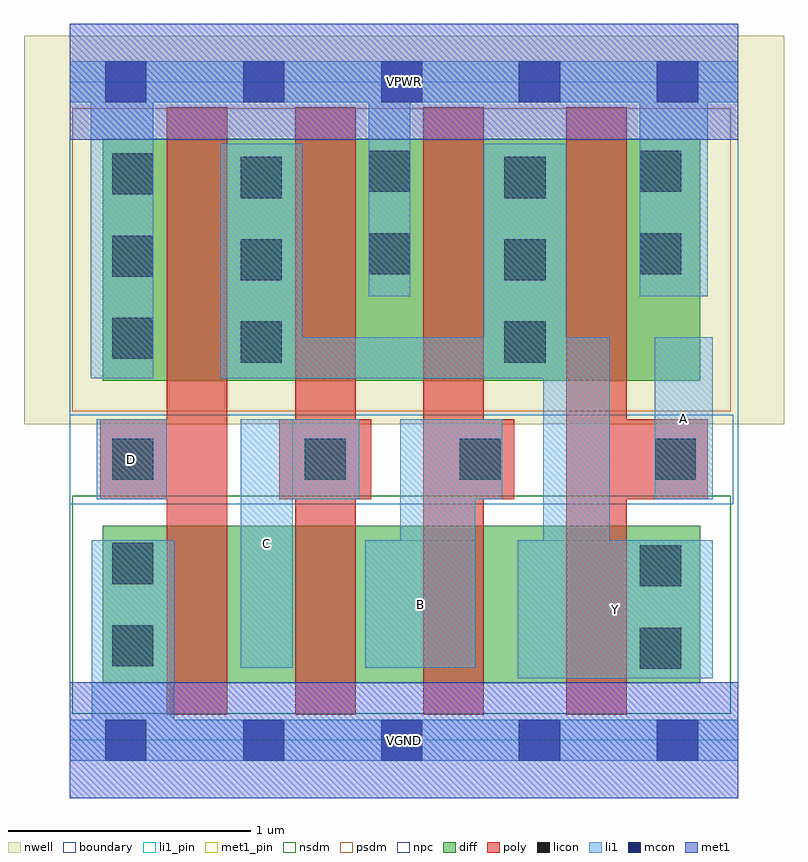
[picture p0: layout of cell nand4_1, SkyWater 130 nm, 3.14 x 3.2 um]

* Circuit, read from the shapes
.subckt nand4_1 A B C D VGND VPWR Y
XM1 n1 D VGND VSUBS sky130_fd_pr__nfet_01v8 w=0.65 l=0.25
XM2 n2 C n1 VSUBS sky130_fd_pr__nfet_01v8 w=0.65 l=0.25
XM3 n3 B n2 VSUBS sky130_fd_pr__nfet_01v8 w=0.65 l=0.25
XM4 Y A n3 VSUBS sky130_fd_pr__nfet_01v8 w=0.65 l=0.25
XM5 Y D VPWR n4 sky130_fd_pr__pfet_01v8 w=1 l=0.25
XM6 VPWR C Y n4 sky130_fd_pr__pfet_01v8 w=1 l=0.25
XM7 Y B VPWR n4 sky130_fd_pr__pfet_01v8 w=1 l=0.25
XM8 VPWR A Y n4 sky130_fd_pr__pfet_01v8 w=1 l=0.25
.ends

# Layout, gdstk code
import gdstk
lib = gdstk.Library(unit=1e-6, precision=1e-09)
def R(c, l, rs):  # rectangles x0, y0, x1, y1
    for r in rs: c.add(gdstk.rectangle(r[:2], r[2:], *l))
def A(c, l, x, y, w, h, nx, ny, dx, dy):  # array of equal rectangles
    R(c, l, [(x+i*dx, y+j*dy, x+i*dx+w, y+j*dy+h) for i in range(nx) for j in range(ny)])
nwell = (64, 20)
diff = (65, 20)
poly = (66, 20)
licon = (66, 44)
li1_pin = (67, 16)
li1 = (67, 20)
mcon = (67, 44)
met1_pin = (68, 16)
met1 = (68, 20)
nsdm = (93, 44)
psdm = (94, 20)
npc = (95, 20)
boundary = (235, 4)

nand4_1 = lib.new_cell('nand4_1')
R(nand4_1, nwell, [(-0.19,1.305,2.95,2.91), (0,1.305,2.76,2.91)])
R(nand4_1, diff, [(0.135,0.235,2.605,0.885), (0.135,1.485,2.605,2.485)])
A(nand4_1, poly, 0.4, 0.105, 0.25, 2.51, 3, 1, 0.53, 0)
R(nand4_1, poly, [(2.05,0.105,2.3,2.615), (0.125,0.995,0.65,1.325), (0.865,0.995,1.245,1.325), (1.46,0.995,1.835,1.325), (2.05,0.995,2.635,1.325)])
A(nand4_1, licon, 0.705, 1.56, 0.17, 0.17, 1, 3, 0, 0.34)
A(nand4_1, licon, 1.795, 1.56, 0.17, 0.17, 1, 3, 0, 0.34)
A(nand4_1, licon, 0.175, 1.575, 0.17, 0.17, 1, 3, 0, 0.34)
R(nand4_1, licon, [(2.355,0.295,2.525,0.465), (0.175,0.305,0.345,0.475), (2.355,0.635,2.525,0.805), (0.175,0.645,0.345,0.815), (0.175,1.075,0.345,1.245), (0.97,1.075,1.14,1.245), (1.61,1.075,1.78,1.245), (2.415,1.075,2.585,1.245), (1.235,1.925,1.405,2.095), (2.355,1.925,2.525,2.095), (1.235,2.265,1.405,2.435), (2.355,2.265,2.525,2.435)])
R(nand4_1, li1_pin, [(1.85,0.255,2.655,0.825), (0.705,0.3,0.92,1.325), (1.22,0.3,1.675,0.825), (0.11,0.995,0.4,1.325), (2.415,0.995,2.655,1.665)])
R(nand4_1, li1, [(0,-0.085,2.76,0.085), (0.09,-0.085,0.43,0.825), (1.85,0.255,2.655,0.825), (1.955,0.255,2.23,1.665), (0.705,0.3,0.92,1.325), (1.22,0.3,1.675,0.825), (1.365,0.3,1.675,1.325), (0.11,0.995,0.4,1.325), (0.705,0.995,1.195,1.325), (1.365,0.995,1.785,1.325), (2.415,0.995,2.655,1.665), (0.085,1.495,0.345,2.805), (0.62,1.495,0.96,2.465), (0.62,1.495,2.23,1.665), (1.71,1.495,2.05,2.465), (1.235,1.835,1.405,2.805), (2.355,1.835,2.635,2.805), (0,2.635,2.76,2.805)])
A(nand4_1, mcon, 0.145, -0.085, 0.17, 0.17, 5, 2, 0.57, 2.72)
R(nand4_1, met1_pin, [(0,-0.24,2.76,0.24), (0,2.48,2.76,2.96)])
R(nand4_1, met1, [(0,-0.24,2.76,0.24), (0,2.48,2.76,2.96)])
R(nand4_1, nsdm, [(0.01,0.11,2.73,1.01)])
R(nand4_1, psdm, [(0.01,1.36,2.73,2.61)])
R(nand4_1, npc, [(0,0.975,2.74,1.345)])
R(nand4_1, boundary, [(0,0,2.76,2.72)])
nand4_1.add(gdstk.Label('A', (2.535,1.33), layer=67, texttype=5))
nand4_1.add(gdstk.Label('B', (1.447,0.562), layer=67, texttype=5))
nand4_1.add(gdstk.Label('C', (0.812,0.812), layer=67, texttype=5))
nand4_1.add(gdstk.Label('D', (0.255,1.16), layer=67, texttype=5))
nand4_1.add(gdstk.Label('Y', (2.252,0.54), layer=67, texttype=5))
nand4_1.add(gdstk.Label('VPWR', (1.38,2.72), layer=68, texttype=5))
nand4_1.add(gdstk.Label('VGND', (1.38,0), layer=68, texttype=5))
nand4_1.add(gdstk.Label('A', (2.535,1.33), layer=67, texttype=16))
nand4_1.add(gdstk.Label('B', (1.447,0.562), layer=67, texttype=16))
nand4_1.add(gdstk.Label('C', (0.812,0.812), layer=67, texttype=16))
nand4_1.add(gdstk.Label('D', (0.255,1.16), layer=67, texttype=16))
nand4_1.add(gdstk.Label('Y', (2.252,0.54), layer=67, texttype=16))
nand4_1.add(gdstk.Label('VPWR', (1.38,2.72), layer=68, texttype=16))
nand4_1.add(gdstk.Label('VGND', (1.38,0), layer=68, texttype=16))

lib.write_gds('nand4_1.gds')
